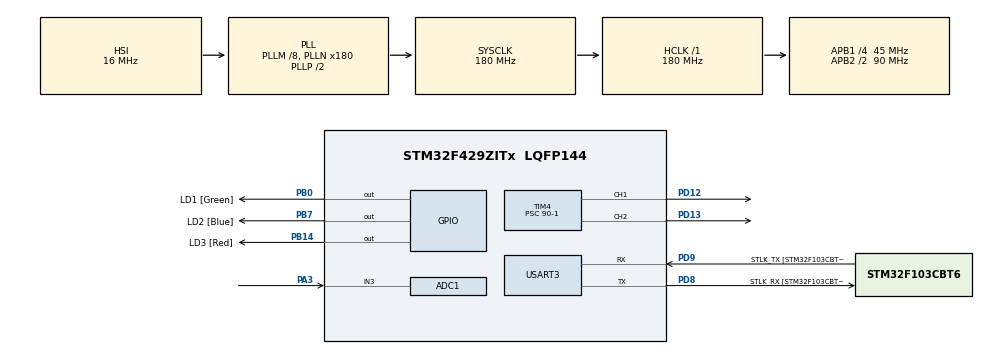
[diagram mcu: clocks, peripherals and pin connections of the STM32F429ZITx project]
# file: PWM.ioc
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ADC1.Channel-1\#ChannelRegularConversion=ADC_CHANNEL_3
ADC1.NbrOfConversionFlag=1
ADC1.Rank-1\#ChannelRegularConversion=1
ADC1.SamplingTime-1\#ChannelRegularConversion=ADC_SAMPLETIME_3CYCLES
ADC1.master=1
Mcu.Family=STM32F4
Mcu.Name=STM32F429ZITx
Mcu.Package=LQFP144
NVIC.PriorityGroup=NVIC_PRIORITYGROUP_4
PA13.GPIO_Label=TMS
PA13.Mode=Serial_Wire
PA13.Signal=SYS_JTMS-SWDIO
PA14.GPIO_Label=TCK
PA14.Mode=Serial_Wire
PA14.Signal=SYS_JTCK-SWCLK
PA3.Signal=ADCx_IN3
PB0.GPIO_Label=LD1 [Green]
PB0.Signal=GPIO_Output
PB14.GPIO_Label=LD3 [Red]
PB14.Signal=GPIO_Output
PB7.GPIO_Label=LD2 [Blue]
PB7.Signal=GPIO_Output
PD12.Signal=S_TIM4_CH1
PD13.Signal=S_TIM4_CH2
PD8.GPIO_Label=STLK_RX [STM32F103CBT6_PA3]
PD8.Mode=Asynchronous
PD8.Signal=USART3_TX
PD9.GPIO_Label=STLK_TX [STM32F103CBT6_PA2]
PD9.Mode=Asynchronous
PD9.Signal=USART3_RX
ProjectManager.HeapSize=0x200
ProjectManager.StackSize=0x400
ProjectManager.TargetToolchain=STM32CubeIDE
RCC.48MHZClocksFreq_Value=51428571.428571425
RCC.AHBFreq_Value=180000000
RCC.APB1CLKDivider=RCC_HCLK_DIV4
RCC.APB1Freq_Value=45000000
RCC.APB1TimFreq_Value=90000000
RCC.APB2CLKDivider=RCC_HCLK_DIV2
RCC.APB2Freq_Value=90000000
RCC.APB2TimFreq_Value=180000000
RCC.CortexFreq_Value=180000000
RCC.HCLKFreq_Value=180000000
RCC.HSE_VALUE=8000000
RCC.HSI_VALUE=16000000
RCC.LSE_VALUE=32768
RCC.PLLM=8
RCC.PLLMUL=RCC_PLL_MUL9
RCC.PLLN=180
RCC.PLLQ=7
RCC.PRESCALERUSB=RCC_USBCLKSOURCE_PLL_DIV1_5
RCC.SYSCLKFreq_VALUE=180000000
RCC.SYSCLKSource=RCC_SYSCLKSOURCE_PLLCLK
RCC.SYSCLKSourceVirtual=RCC_SYSCLKSOURCE_PLLCLK
RCC.USBFreq_Value=48000000
RCC.VCOOutputFreq_Value=360000000
SH.ADCx_IN3.0=ADC1_IN3,IN3
SH.S_TIM4_CH1.0=TIM4_CH1,PWM Generation1 CH1
SH.S_TIM4_CH2.0=TIM4_CH2,PWM Generation2 CH2
TIM4.Channel-PWM\ Generation1\ CH1=TIM_CHANNEL_1
TIM4.Channel-PWM\ Generation2\ CH2=TIM_CHANNEL_2
TIM4.CounterMode=TIM_COUNTERMODE_UP
TIM4.OCPolarity_2=TIM_OCPOLARITY_HIGH
TIM4.Period=20000-1
TIM4.Prescaler=90-1
USART3.VirtualMode=VM_ASYNC
board=NUCLEO-F429ZI

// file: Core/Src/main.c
/* USER CODE BEGIN Header */
/**
 ******************************************************************************
 * @file           : main.c
 * @brief          : Main program body
 ******************************************************************************
 * @attention
 *
 * Copyright (c) 2024 STMicroelectronics.
 * All rights reserved.
 *
 * This software is licensed under terms that can be found in the LICENSE file
 * in the root directory of this software component.
 * If no LICENSE file comes with this software, it is provided AS-IS.
 *
 ******************************************************************************
 */
/* USER CODE END Header */
#include "main.h"
#include "adc.h"
#include "tim.h"
#include "usart.h"
#include "gpio.h"

void SystemClock_Config(void);

/* USER CODE BEGIN 0 */
extern TIM_HandleTypeDef htim4;
extern ADC_HandleTypeDef hadc1;
void Duty_Cycle_set(TIM_HandleTypeDef * timer_pwm, uint32_t channel, uint16_t duty);

uint16_t adc_value = 0;
uint16_t pwm_value = 0;
/* USER CODE END 0 */

int main(void)
{

	/* MCU Configuration--------------------------------------------------------*/

	/* Reset of all peripherals, Initializes the Flash interface and the Systick. */
	HAL_Init();

	/* Configure the system clock */
	SystemClock_Config();

	/* Initialize all configured peripherals */
	MX_GPIO_Init();
	MX_USART3_UART_Init();
	MX_TIM4_Init();
	MX_ADC1_Init();
	/* USER CODE BEGIN 2 */
	HAL_TIM_PWM_Start(&htim4,TIM_CHANNEL_1);
	HAL_TIM_PWM_Start(&htim4,TIM_CHANNEL_2);
	__HAL_TIM_SET_COMPARE(&htim4,TIM_CHANNEL_1,3000);
	__HAL_TIM_SET_COMPARE(&htim4,TIM_CHANNEL_2,500);
	HAL_ADC_Start(&hadc1);
	/* USER CODE END 2 */

	/* Infinite loop */
	while (1)
	{

		/* USER CODE BEGIN 3 */
		/** PARTE 2
		Duty_Cycle_set(&htim4,TIM_CHANNEL_1,10);
		HAL_Delay(100);
		Duty_Cycle_set(&htim4,TIM_CHANNEL_2,95);
		HAL_Delay(100);*/
		// PARTE 3
		if(HAL_ADC_PollForConversion(&hadc1, 10)== HAL_OK)
		{
			adc_value = HAL_ADC_GetValue(&hadc1);
			/* 1 a 100%
			   x a 4095
			   4095/100 = 41
			*/
			pwm_value = adc_value/41;
			Duty_Cycle_set(&htim4,TIM_CHANNEL_1,pwm_value);
			HAL_ADC_Start(&hadc1);
		}
		HAL_Delay(100);
	}
	/* USER CODE END 3 */
}

void SystemClock_Config(void)
{
	RCC_OscInitTypeDef RCC_OscInitStruct = {0};
	RCC_ClkInitTypeDef RCC_ClkInitStruct = {0};

	/** Configure the main internal regulator output voltage
	 */
	__HAL_RCC_PWR_CLK_ENABLE();
	__HAL_PWR_VOLTAGESCALING_CONFIG(PWR_REGULATOR_VOLTAGE_SCALE1);

	/** Initializes the RCC Oscillators according to the specified parameters
	 * in the RCC_OscInitTypeDef structure.
	 */
	RCC_OscInitStruct.OscillatorType = RCC_OSCILLATORTYPE_HSI;
	RCC_OscInitStruct.HSIState = RCC_HSI_ON;
	RCC_OscInitStruct.HSICalibrationValue = RCC_HSICALIBRATION_DEFAULT;
	RCC_OscInitStruct.PLL.PLLState = RCC_PLL_ON;
	RCC_OscInitStruct.PLL.PLLSource = RCC_PLLSOURCE_HSI;
	RCC_OscInitStruct.PLL.PLLM = 8;
	RCC_OscInitStruct.PLL.PLLN = 180;
	RCC_OscInitStruct.PLL.PLLP = RCC_PLLP_DIV2;
	RCC_OscInitStruct.PLL.PLLQ = 7;
	if (HAL_RCC_OscConfig(&RCC_OscInitStruct) != HAL_OK)
	{
		Error_Handler();
	}

	/** Activate the Over-Drive mode
	 */
	if (HAL_PWREx_EnableOverDrive() != HAL_OK)
	{
		Error_Handler();
	}

	/** Initializes the CPU, AHB and APB buses clocks
	 */
	RCC_ClkInitStruct.ClockType = RCC_CLOCKTYPE_HCLK|RCC_CLOCKTYPE_SYSCLK
			|RCC_CLOCKTYPE_PCLK1|RCC_CLOCKTYPE_PCLK2;
	RCC_ClkInitStruct.SYSCLKSource = RCC_SYSCLKSOURCE_PLLCLK;
	RCC_ClkInitStruct.AHBCLKDivider = RCC_SYSCLK_DIV1;
	RCC_ClkInitStruct.APB1CLKDivider = RCC_HCLK_DIV4;
	RCC_ClkInitStruct.APB2CLKDivider = RCC_HCLK_DIV2;

	if (HAL_RCC_ClockConfig(&RCC_ClkInitStruct, FLASH_LATENCY_5) != HAL_OK)
	{
		Error_Handler();
	}
}

/* USER CODE BEGIN 4 */
void Duty_Cycle_set(TIM_HandleTypeDef * timer_pwm, uint32_t channel, uint16_t duty)
{
	uint16_t valor_pwm = 0;
	if(duty>=100)
	{
		duty = 100;
	}
	if(duty <= 0)
	{
		duty = 0;
	}
	/*
	 * periodo -> 100
	 * x   	   ->  duty
	 * */
	valor_pwm = (duty*__HAL_TIM_GET_AUTORELOAD(timer_pwm))/100;
	__HAL_TIM_SET_COMPARE(timer_pwm,channel,valor_pwm);
}
/* USER CODE END 4 */

void Error_Handler(void)
{
	__disable_irq();
	while (1)
	{
	}
}
